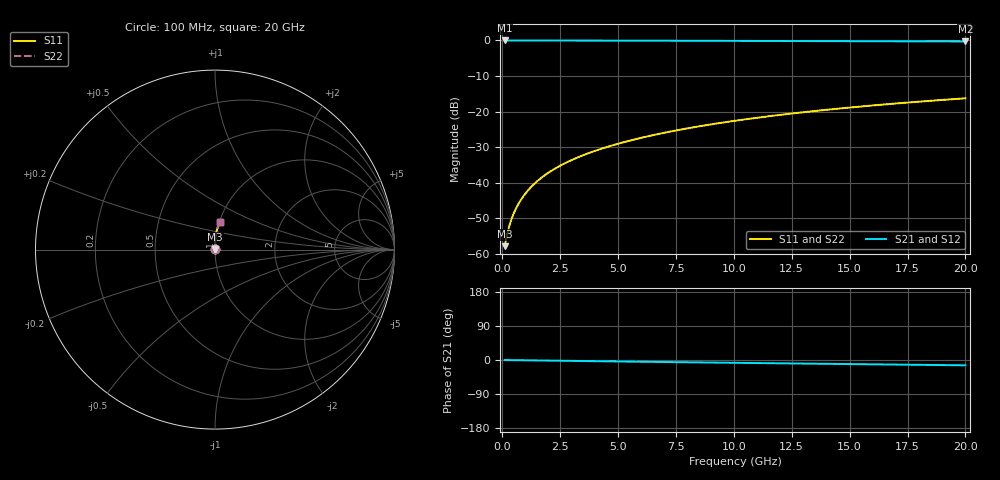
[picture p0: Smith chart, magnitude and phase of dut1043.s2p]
! Touchstone file exported from HFSS 2024.1.0
!  File:  C:/UserFiles/LocalFiles/RDL_TSV_Batchsim/temp_RDL_bottom_1043_1780051648.aedt
!  Generated:  06:49:39 PM May 29, 2026
!  Design:  RDL_bottom
!  Project:  temp_RDL_bottom_1043_1780051648
!  Setup:  Setup1
!  Solution:  Sweep
! Variables:
!  dtsv = 10.80580581um
!  hbump = 3um
!  htsv = 81.61um
!  ldown = 175.63um
!  lrdl = 100um
!  p = 40
!  p1 = 44.24um
!  rhole = 1um
!  t = 450um
!  tdown = 3.69um
!  trdl = 3.915915916um
!  wdown = 20.21um
!  wrdl = 20um
# GHz S MA R 50.000000
! Terminal data exported
! Port[1] = RDL1_T1
! Port[2] = RDL1_T2
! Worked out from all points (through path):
!   200 points, 100 MHz to 20 GHz, reference 50 ohm
!   highest |S21| = -0.01 dB at 100 MHz (marker M1); lowest = -0.3 dB at 20 GHz (marker M2)
!   group delay of S21, straight-line fit = 1.93 ps
!   lowest |S11| = -57.9 dB at 100 MHz (marker M3), VSWR 1.00, Z = 50.1 + j0.0753 ohm
!   |S11| at or under -10 dB: start of sweep to end of sweep
!   |S22| runs from -57.9 to -16.3 dB; largest |S21 - S12| = 4.1e-15
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0.1  0.00128 35.9  0.999 -0.1  0.999 -0.1  0.00128 35.9
! Gamma 0 0 0 0
! Port Impedance 50 0 50 0
0.2  0.00183 53.9  0.9989 -0.2  0.9989 -0.2  0.00183 53.9
0.3  0.002452 62.8  0.9989 -0.2  0.9989 -0.2  0.002452 62.8
0.4  0.003091 68.0  0.9988 -0.3  0.9988 -0.3  0.003091 68.0
0.5  0.003737 71.6  0.9987 -0.4  0.9987 -0.4  0.003737 71.6
0.6  0.00439 74.2  0.9987 -0.5  0.9987 -0.5  0.004389 74.2
0.8  0.005709 77.7  0.9986 -0.6  0.9986 -0.6  0.005709 77.7
1.1  0.007716 80.9  0.9985 -0.9  0.9985 -0.9  0.007716 80.9
1.3  0.009069 82.3  0.9984 -1.0  0.9984 -1.0  0.009069 82.3
1.6  0.01111 83.8  0.9982 -1.3  0.9982 -1.3  0.01111 83.8
2.1  0.01455 85.4  0.9978 -1.7  0.9978 -1.7  0.01455 85.4
2.7  0.01873 86.6  0.9972 -2.1  0.9972 -2.1  0.01873 86.6
3.5  0.02439 87.5  0.9962 -2.8  0.9962 -2.8  0.02439 87.5
4.2  0.02942 88.0  0.9953 -3.3  0.9953 -3.3  0.02942 88.0
5  0.03527 88.3  0.9941 -3.9  0.9941 -3.9  0.03527 88.3
5.9  0.04198 88.4  0.9926 -4.5  0.9926 -4.5  0.04198 88.4
6.8  0.0488 88.4  0.991 -5.2  0.991 -5.2  0.04881 88.4
8.4  0.0612 87.9  0.9881 -6.3  0.9881 -6.3  0.0612 87.9
10.1  0.07462 87.2  0.985 -7.5  0.985 -7.5  0.07463 87.2
13.4  0.1011 85.1  0.9791 -9.7  0.9791 -9.7  0.1011 85.1
16.7  0.1275 82.7  0.9733 -11.9  0.9733 -11.9  0.1275 82.7
20  0.1536 80.3  0.9675 -14.0  0.9675 -14.0  0.1536 80.3
